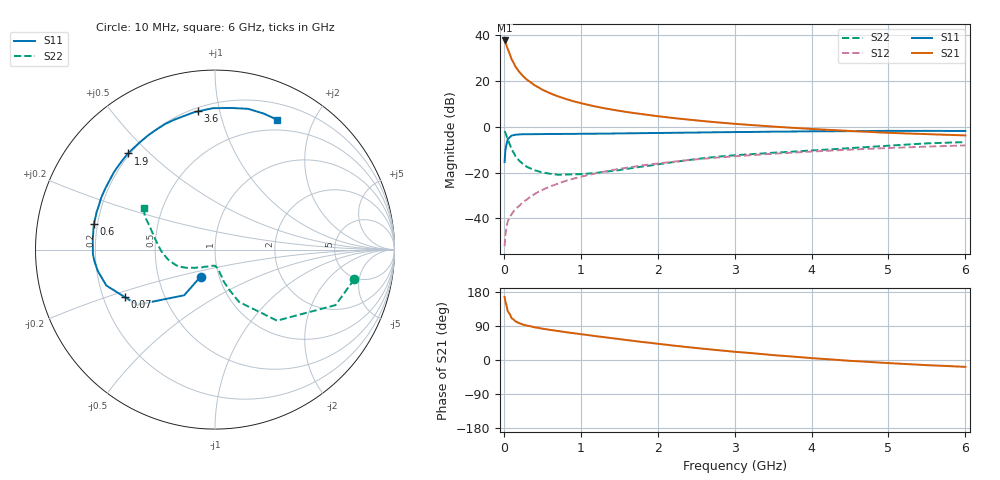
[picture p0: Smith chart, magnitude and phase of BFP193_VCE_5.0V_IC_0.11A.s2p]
! Infineon Technologies  Discrete & RF Semiconductors
! BFP193
! VCE =  5.0 V,  IC = 0.11 A
! Common Emitter S-Parameters:  Jan 2017
# GHz  S  MA  R  50
!  f  S11  S21  S12  S22
! GHz  MAG  ANG  MAG  ANG  MAG  ANG  MAG  ANG
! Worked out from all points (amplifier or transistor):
!   77 points, 10 MHz to 6 GHz, reference 50 ohm
!   highest |S21| = 37.5 dB at 10 MHz (marker M1)
!   |S21| within 3 dB of that: start of sweep to 42.93 MHz
!   unconditionally stable (mu >= 1): 252.4 MHz to 2.761 GHz
!   at 130 MHz: K = 0.81, MSG = 32.1 dB, |S12| = -36.7 dB
!   at 2.2 GHz: K = 1.04, MAG = 8.3 dB, |S12| = -15.3 dB
!   at 6 GHz: K = 0.96, MSG = 2.2 dB, |S12| = -8.2 dB
!   S11 on the Smith chart (normalised r, x): 10 MHz: 0.82, -0.25; 70 MHz: 0.29, -0.23; 600 MHz: 0.19, +0.10; 1.9 GHz: 0.19, +0.43; 3.6 GHz: 0.22, +0.86; 6 GHz: 0.38, +1.52
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0.01  0.1698 -118.0  74.56 166.4  0.0025 81.7  0.7936 -12.0
0.02  0.307 -124.0  69.77 154.2  0.0043 72.0  0.7396 -24.7
0.05  0.5319 -144.7  48.87 128.7  0.0086 58.0  0.5254 -48.9
0.07  0.568 -152.2  40.6 123.5  0.0101 58.6  0.4399 -53.6
0.1  0.6377 -161.7  29.27 110.4  0.0123 59.3  0.3209 -65.3
0.15  0.6637 -169.6  20.31 102.2  0.0161 62.0  0.2287 -71.2
0.2  0.6741 -174.2  15.47 97.1  0.0188 66.7  0.1813 -74.9
0.25  0.6808 -177.7  12.48 93.4  0.023 67.9  0.1528 -76.2
0.3  0.6805 179.6  10.44 90.8  0.0259 69.5  0.1326 -78.2
0.4  0.6834 175.2  7.894 86.3  0.0341 71.0  0.1119 -80.3
0.5  0.6856 171.4  6.335 82.7  0.0419 72.3  0.1003 -83.8
0.6  0.6902 168.0  5.31 79.5  0.0497 72.1  0.094 -87.6
0.8  0.692 162.2  4.007 73.6  0.0656 72.3  0.0904 -93.7
1.1  0.6977 153.6  2.949 65.6  0.0883 69.5  0.0948 -105.9
1.5  0.7091 142.8  2.195 55.2  0.1196 64.9  0.1129 -121.9
1.9  0.7218 132.1  1.767 45.4  0.1496 59.9  0.1415 -135.0
2.1  0.7267 127.2  1.605 40.6  0.1643 57.2  0.1593 -140.5
3.1  0.7599 105.9  1.114 20.1  0.2313 44.2  0.2431 -161.4
3.6  0.776 97.0  0.974 11.4  0.2618 38.3  0.2748 -170.9
4.1  0.7883 89.3  0.869 3.6  0.2913 32.1  0.3082 178.5
5.1  0.8047 75.5  0.721 -9.2  0.3463 20.0  0.3924 159.6
6  0.8022 64.4  0.641 -18.1  0.389 9.5  0.4597 149.9
